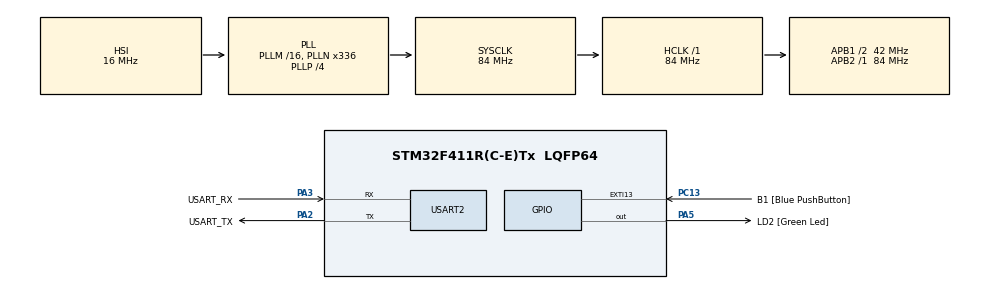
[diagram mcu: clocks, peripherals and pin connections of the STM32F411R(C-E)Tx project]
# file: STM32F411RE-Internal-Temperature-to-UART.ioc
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ADC1.Channel-0\#ChannelRegularConversion=ADC_CHANNEL_TEMPSENSOR
ADC1.ContinuousConvMode=ENABLE
ADC1.NbrOfConversionFlag=1
ADC1.Rank-0\#ChannelRegularConversion=1
ADC1.SamplingTime-0\#ChannelRegularConversion=ADC_SAMPLETIME_3CYCLES
ADC1.master=1
Mcu.Family=STM32F4
Mcu.Name=STM32F411R(C-E)Tx
Mcu.Package=LQFP64
NVIC.PriorityGroup=NVIC_PRIORITYGROUP_0
PA13.GPIO_Label=TMS
PA13.Mode=Serial_Wire
PA13.Signal=SYS_JTMS-SWDIO
PA14.GPIO_Label=TCK
PA14.Mode=Serial_Wire
PA14.Signal=SYS_JTCK-SWCLK
PA2.GPIO_Label=USART_TX
PA2.Mode=Asynchronous
PA2.Signal=USART2_TX
PA3.GPIO_Label=USART_RX
PA3.Mode=Asynchronous
PA3.Signal=USART2_RX
PA5.GPIO_Label=LD2 [Green Led]
PA5.Signal=GPIO_Output
PB3.GPIO_Label=SWO
PB3.Signal=SYS_JTDO-SWO
PC13-ANTI_TAMP.GPIO_Label=B1 [Blue PushButton]
PC13-ANTI_TAMP.GPIO_ModeDefaultEXTI=GPIO_MODE_IT_FALLING
PC13-ANTI_TAMP.Signal=GPXTI13
PC14-OSC32_IN.Mode=LSE-External-Oscillator
PC14-OSC32_IN.Signal=RCC_OSC32_IN
PC15-OSC32_OUT.Mode=LSE-External-Oscillator
PC15-OSC32_OUT.Signal=RCC_OSC32_OUT
PH0\ -\ OSC_IN.Mode=HSE-External-Clock-Source
PH0\ -\ OSC_IN.Signal=RCC_OSC_IN
PH1\ -\ OSC_OUT.Mode=HSE-External-Clock-Source
PH1\ -\ OSC_OUT.Signal=RCC_OSC_OUT
ProjectManager.HeapSize=0x200
ProjectManager.StackSize=0x400
ProjectManager.TargetToolchain=CMake
RCC.48MHZClocksFreq_Value=84000000
RCC.AHBFreq_Value=84000000
RCC.APB1CLKDivider=RCC_HCLK_DIV2
RCC.APB1Freq_Value=42000000
RCC.APB1TimFreq_Value=84000000
RCC.APB2Freq_Value=84000000
RCC.APB2TimFreq_Value=84000000
RCC.CortexFreq_Value=84000000
RCC.FLatency-AdvancedSettings=FLASH_LATENCY_2
RCC.HCLKFreq_Value=84000000
RCC.HSE_VALUE=8000000
RCC.HSI_VALUE=16000000
RCC.PLLN=336
RCC.PLLP=RCC_PLLP_DIV4
RCC.SYSCLKFreq_VALUE=84000000
RCC.SYSCLKSource=RCC_SYSCLKSOURCE_PLLCLK
RCC.VCOOutputFreq_Value=336000000
USART2.VirtualMode=VM_ASYNC
VP_ADC1_TempSens_Input.Mode=IN-TempSens
board=NUCLEO-F411RE

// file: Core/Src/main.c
/* USER CODE BEGIN Header */
/**
  ******************************************************************************
  * @file           : main.c
  * @brief          : Main program body
  ******************************************************************************
  * @attention
  *
  * Copyright (c) 2025 STMicroelectronics.
  * All rights reserved.
  *
  * This software is licensed under terms that can be found in the LICENSE file
  * in the root directory of this software component.
  * If no LICENSE file comes with this software, it is provided AS-IS.
  *
  ******************************************************************************
  */
/* USER CODE END Header */
#include "main.h"

/* USER CODE BEGIN Includes */
#include <stdio.h>
#include <string.h>
#include <stdint.h>

/* USER CODE END Includes */

ADC_HandleTypeDef hadc1;

UART_HandleTypeDef huart2;

void SystemClock_Config(void);
static void MX_GPIO_Init(void);
static void MX_ADC1_Init(void);
static void MX_USART2_UART_Init(void);

/* USER CODE BEGIN 0 */
/**
  * @brief  Lê a temperatura interna do microcontrolador STM32F411RE.
  * @note   Utiliza o ADC1 configurado no canal interno do sensor de temperatura.
  *         Converte o valor bruto do ADC em tensão (Vsense) e aplica a
  *         fórmula fornecida pela ST para obter a temperatura em graus Celsius.
  * @retval Temperatura interna em graus Celsius.
  */
float read_internal_temperature(void)
{
  uint32_t raw = 0;
  uint32_t vsenseMv = 0U;      /* Vsense em milivolts */
  int32_t temperatureC_x100;   /* Temperatura em centésimos de grau Celsius */

  HAL_ADC_Start(&hadc1);
  HAL_ADC_PollForConversion(&hadc1, HAL_MAX_DELAY);
  raw = HAL_ADC_GetValue(&hadc1);

  char buffer[32];
  snprintf(buffer, sizeof(buffer), "RAW: %lu\r\n", (unsigned long)raw);
  HAL_UART_Transmit(&huart2, (uint8_t *)buffer, strlen(buffer), HAL_MAX_DELAY);

  /*
   * Cálculo em ponto fixo:
   * Vsense [mV] = raw * 3300 / 4095
   */
  vsenseMv = (uint32_t)(((uint64_t)raw * 3300U) / 4095U);

  snprintf(buffer, sizeof(buffer), "Vsense: %lu mV\r\n", (unsigned long)vsenseMv);
  HAL_UART_Transmit(&huart2, (uint8_t *)buffer, strlen(buffer), HAL_MAX_DELAY);

  /*
   * Fórmula aproximada para o STM32F4 (modelo genérico ST):
   * No F4 o Vsense DIMINUI com o aumento da temperatura.
   * T(°C) = (V25 - Vsense) / Avg_Slope + 25
   * com Vsense em volts, V25 = 0,76 V e Avg_Slope = 2,5 mV/°C.
   * Em mV e ponto fixo em centésimos de grau:
   * T100 = ((760 - Vsense_mV) * 40) + 2500
   */
  if (vsenseMv <= 760U)
  {
    temperatureC_x100 = (int32_t)((760U - vsenseMv) * 40U) + 2500;
  }
  else
  {
    temperatureC_x100 = 2500 - (int32_t)((vsenseMv - 760U) * 40U);
  }

  {
    int32_t tempInt = temperatureC_x100 / 100;
    int32_t tempFrac = temperatureC_x100 % 100;
    if (tempFrac < 0)
    {
      tempFrac = -tempFrac;
    }
    snprintf(buffer, sizeof(buffer), "Temp: %ld.%02ld C\r\n",
             (long)tempInt, (long)tempFrac);
    HAL_UART_Transmit(&huart2, (uint8_t *)buffer, strlen(buffer), HAL_MAX_DELAY);
  }

  return (float)temperatureC_x100 / 100.0f;
}

/**
  * @brief  Lê a temperatura interna e envia o valor pela USART2.
  * @note   Formata uma string no padrão
  *         "Temperatura Interna: XX.XX C" e transmite via HAL_UART_Transmit.
  *         A saída pode ser visualizada em um terminal serial no computador.
  * @retval None
  */
void print_temperature(void)
{
  char buffer[64];
  float temp = read_internal_temperature();

  /*
   * Evitar uso de %f no printf em ambientes sem suporte a ponto flutuante.
   * Converte o valor retornado para centésimos de grau e imprime com inteiros.
   */
  int32_t tempC_x100 = (int32_t)(temp * 100.0f);
  int32_t tempInt = tempC_x100 / 100;
  int32_t tempFrac = tempC_x100 % 100;
  if (tempFrac < 0)
  {
    tempFrac = -tempFrac;
  }

  snprintf(buffer, sizeof(buffer), "Temperatura Interna: %ld.%02ld C\r\n",
           (long)tempInt, (long)tempFrac);
  HAL_UART_Transmit(&huart2, (uint8_t *)buffer, strlen(buffer), HAL_MAX_DELAY);
}

/* USER CODE END 0 */

int main(void)
{

  /* MCU Configuration--------------------------------------------------------*/

  /* Reset of all peripherals, Initializes the Flash interface and the Systick. */
  HAL_Init();

  /* Configure the system clock */
  SystemClock_Config();

  /* Initialize all configured peripherals */
  MX_GPIO_Init();
  MX_ADC1_Init();
  MX_USART2_UART_Init();

  /* Infinite loop */
  /* USER CODE BEGIN WHILE */
  while (1)
  {
    print_temperature();
    HAL_Delay(1000);
    /* USER CODE END WHILE */

  }
}

void SystemClock_Config(void)
{
  RCC_OscInitTypeDef RCC_OscInitStruct = {0};
  RCC_ClkInitTypeDef RCC_ClkInitStruct = {0};

  /** Configure the main internal regulator output voltage
  */
  __HAL_RCC_PWR_CLK_ENABLE();
  __HAL_PWR_VOLTAGESCALING_CONFIG(PWR_REGULATOR_VOLTAGE_SCALE1);

  /** Initializes the RCC Oscillators according to the specified parameters
  * in the RCC_OscInitTypeDef structure.
  */
  RCC_OscInitStruct.OscillatorType = RCC_OSCILLATORTYPE_HSI;
  RCC_OscInitStruct.HSIState = RCC_HSI_ON;
  RCC_OscInitStruct.HSICalibrationValue = RCC_HSICALIBRATION_DEFAULT;
  RCC_OscInitStruct.PLL.PLLState = RCC_PLL_ON;
  RCC_OscInitStruct.PLL.PLLSource = RCC_PLLSOURCE_HSI;
  RCC_OscInitStruct.PLL.PLLM = 16;
  RCC_OscInitStruct.PLL.PLLN = 336;
  RCC_OscInitStruct.PLL.PLLP = RCC_PLLP_DIV4;
  RCC_OscInitStruct.PLL.PLLQ = 4;
  if (HAL_RCC_OscConfig(&RCC_OscInitStruct) != HAL_OK)
  {
    Error_Handler();
  }

  /** Initializes the CPU, AHB and APB buses clocks
  */
  RCC_ClkInitStruct.ClockType = RCC_CLOCKTYPE_HCLK|RCC_CLOCKTYPE_SYSCLK
                              |RCC_CLOCKTYPE_PCLK1|RCC_CLOCKTYPE_PCLK2;
  RCC_ClkInitStruct.SYSCLKSource = RCC_SYSCLKSOURCE_PLLCLK;
  RCC_ClkInitStruct.AHBCLKDivider = RCC_SYSCLK_DIV1;
  RCC_ClkInitStruct.APB1CLKDivider = RCC_HCLK_DIV2;
  RCC_ClkInitStruct.APB2CLKDivider = RCC_HCLK_DIV1;

  if (HAL_RCC_ClockConfig(&RCC_ClkInitStruct, FLASH_LATENCY_2) != HAL_OK)
  {
    Error_Handler();
  }
}

static void MX_ADC1_Init(void)
{

  ADC_ChannelConfTypeDef sConfig = {0};

  /** Configure the global features of the ADC (Clock, Resolution, Data Alignment and number of conversion)
  */
  hadc1.Instance = ADC1;
  hadc1.Init.ClockPrescaler = ADC_CLOCK_SYNC_PCLK_DIV4;
  hadc1.Init.Resolution = ADC_RESOLUTION_12B;
  hadc1.Init.ScanConvMode = DISABLE;
  hadc1.Init.ContinuousConvMode = ENABLE;
  hadc1.Init.DiscontinuousConvMode = DISABLE;
  hadc1.Init.ExternalTrigConvEdge = ADC_EXTERNALTRIGCONVEDGE_NONE;
  hadc1.Init.ExternalTrigConv = ADC_SOFTWARE_START;
  hadc1.Init.DataAlign = ADC_DATAALIGN_RIGHT;
  hadc1.Init.NbrOfConversion = 1;
  hadc1.Init.DMAContinuousRequests = DISABLE;
  hadc1.Init.EOCSelection = ADC_EOC_SINGLE_CONV;
  if (HAL_ADC_Init(&hadc1) != HAL_OK)
  {
    Error_Handler();
  }

  /** Configure for the selected ADC regular channel its corresponding rank in the sequencer and its sample time.
  */
  sConfig.Channel = ADC_CHANNEL_TEMPSENSOR;
  sConfig.Rank = 1;
  sConfig.SamplingTime = ADC_SAMPLETIME_480CYCLES;
  if (HAL_ADC_ConfigChannel(&hadc1, &sConfig) != HAL_OK)
  {
    Error_Handler();
  }

}

static void MX_USART2_UART_Init(void)
{

  huart2.Instance = USART2;
  huart2.Init.BaudRate = 115200;
  huart2.Init.WordLength = UART_WORDLENGTH_8B;
  huart2.Init.StopBits = UART_STOPBITS_1;
  huart2.Init.Parity = UART_PARITY_NONE;
  huart2.Init.Mode = UART_MODE_TX_RX;
  huart2.Init.HwFlowCtl = UART_HWCONTROL_NONE;
  huart2.Init.OverSampling = UART_OVERSAMPLING_16;
  if (HAL_UART_Init(&huart2) != HAL_OK)
  {
    Error_Handler();
  }

}

static void MX_GPIO_Init(void)
{
  GPIO_InitTypeDef GPIO_InitStruct = {0};

  /* GPIO Ports Clock Enable */
  __HAL_RCC_GPIOC_CLK_ENABLE();
  __HAL_RCC_GPIOH_CLK_ENABLE();
  __HAL_RCC_GPIOA_CLK_ENABLE();
  __HAL_RCC_GPIOB_CLK_ENABLE();

  /*Configure GPIO pin Output Level */
  HAL_GPIO_WritePin(LD2_GPIO_Port, LD2_Pin, GPIO_PIN_RESET);

  /*Configure GPIO pin : B1_Pin */
  GPIO_InitStruct.Pin = B1_Pin;
  GPIO_InitStruct.Mode = GPIO_MODE_IT_FALLING;
  GPIO_InitStruct.Pull = GPIO_NOPULL;
  HAL_GPIO_Init(B1_GPIO_Port, &GPIO_InitStruct);

  /*Configure GPIO pin : LD2_Pin */
  GPIO_InitStruct.Pin = LD2_Pin;
  GPIO_InitStruct.Mode = GPIO_MODE_OUTPUT_PP;
  GPIO_InitStruct.Pull = GPIO_NOPULL;
  GPIO_InitStruct.Speed = GPIO_SPEED_FREQ_LOW;
  HAL_GPIO_Init(LD2_GPIO_Port, &GPIO_InitStruct);

}

void Error_Handler(void)
{
  __disable_irq();
  while (1)
  {
  }
}
